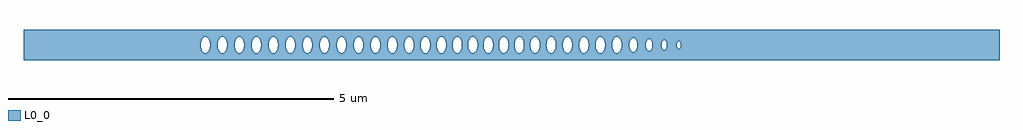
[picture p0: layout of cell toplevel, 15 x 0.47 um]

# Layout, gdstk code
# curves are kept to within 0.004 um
import gdstk
lib = gdstk.Library(unit=1e-6, precision=1e-09)
def P(c, l, *ps):  # polygons
    for p in ps: c.add(gdstk.Polygon(p, *l))
L0_0 = (0, 0)

toplevel = lib.new_cell('toplevel')
P(toplevel, L0_0, [(-4.182,-0.234),(-4.182,-0.128),(-4.208,-0.119),(-4.228,-0.098),(-4.243,-0.068),(-4.254,-0.016),(-4.251,0.039),(-4.238,0.081),(-4.217,0.112),(-4.182,0.128),(-4.182,0.234),(-7.5,0.234),(-7.5,-0.016),(-4.777,-0.016),(-4.775,0.032),(-4.764,0.075),(-4.74,0.112),(-4.705,0.128),(-4.678,0.119),(-4.655,0.093),(-4.639,0.054),(-4.633,-0.008),(-4.516,-0.008),(-4.511,0.047),(-4.493,0.093),(-4.47,0.119),(-4.443,0.128),(-4.417,0.119),(-4.397,0.098),(-4.382,0.068),(-4.371,0.008),(-4.376,-0.047),(-4.394,-0.093),(-4.417,-0.119),(-4.443,-0.128),(-4.47,-0.119),(-4.49,-0.098),(-4.505,-0.068),(-4.516,-0.008),(-4.633,-0.008),(-4.639,-0.054),(-4.655,-0.093),(-4.678,-0.119),(-4.705,-0.128),(-4.732,-0.119),(-4.751,-0.098),(-4.764,-0.075),(-4.777,-0.016),(-7.5,-0.016),(-7.5,-0.234)],
  [(-4.182,0.234),(-4.182,0.128),(-4.155,0.119),(-4.132,0.093),(-4.116,0.054),(-4.11,-0.008),(-3.993,-0.008),(-3.988,0.047),(-3.97,0.093),(-3.947,0.119),(-3.92,0.128),(-3.894,0.119),(-3.874,0.098),(-3.859,0.068),(-3.848,0.016),(-3.851,-0.039),(-3.864,-0.081),(-3.885,-0.112),(-3.92,-0.128),(-3.947,-0.119),(-3.97,-0.093),(-3.988,-0.047),(-3.993,-0.008),(-4.11,-0.008),(-4.116,-0.054),(-4.132,-0.093),(-4.155,-0.119),(-4.182,-0.128),(-4.182,-0.234),(-3.59,-0.234),(-3.59,-0.041),(-3.616,-0.103),(-3.632,-0.119),(-3.659,-0.128),(-3.685,-0.119),(-3.705,-0.098),(-3.72,-0.068),(-3.731,-0.016),(-3.729,0.032),(-3.72,0.068),(-3.698,0.108),(-3.672,0.125),(-3.645,0.125),(-3.62,0.108),(-3.6,0.075),(-3.59,0.039),(-3.59,0.234)],
  [(-2.909,0.234),(-2.909,0.112),(-2.874,0.128),(-2.847,0.119),(-2.835,0.108),(-2.815,0.075),(-2.807,0.047),(-2.802,-0.008),(-2.685,-0.008),(-2.68,0.047),(-2.662,0.093),(-2.639,0.119),(-2.612,0.128),(-2.586,0.119),(-2.566,0.098),(-2.551,0.068),(-2.54,0.008),(-2.545,-0.047),(-2.563,-0.093),(-2.586,-0.119),(-2.612,-0.128),(-2.639,-0.119),(-2.659,-0.098),(-2.674,-0.068),(-2.685,-0.008),(-2.802,-0.008),(-2.815,-0.075),(-2.839,-0.112),(-2.874,-0.128),(-2.909,-0.112),(-2.909,-0.234),(-2.282,-0.234),(-2.282,-0.04),(-2.292,-0.075),(-2.308,-0.103),(-2.324,-0.119),(-2.351,-0.128),(-2.378,-0.119),(-2.397,-0.098),(-2.41,-0.075),(-2.423,-0.016),(-2.421,0.032),(-2.41,0.075),(-2.39,0.108),(-2.365,0.125),(-2.337,0.125),(-2.312,0.108),(-2.292,0.075),(-2.282,0.039),(-2.282,0.234)],
  [(-2.282,-0.039),(-2.282,-0.234),(-1.602,-0.234),(-1.602,-0.119),(-1.634,-0.075),(-1.647,-0.016),(-1.645,0.032),(-1.634,0.075),(-1.602,0.119),(-1.602,0.234),(-2.282,0.234),(-2.279,-0.016),(-2.162,-0.016),(-2.159,0.039),(-2.146,0.081),(-2.117,0.119),(-2.09,0.128),(-2.063,0.119),(-2.04,0.093),(-2.024,0.054),(-2.018,-0.016),(-1.903,-0.016),(-1.9,0.039),(-1.887,0.081),(-1.866,0.112),(-1.831,0.128),(-1.804,0.119),(-1.781,0.093),(-1.763,0.047),(-1.758,0),(-1.763,-0.047),(-1.781,-0.093),(-1.804,-0.119),(-1.831,-0.128),(-1.857,-0.119),(-1.877,-0.098),(-1.892,-0.068),(-1.903,-0.016),(-2.018,-0.016),(-2.024,-0.054),(-2.04,-0.093),(-2.063,-0.119),(-2.09,-0.128),(-2.117,-0.119),(-2.136,-0.098),(-2.151,-0.068),(-2.162,-0.016),(-2.279,-0.016)],
  [(-1.148,0.016),(-1.135,0.075),(-1.103,0.119),(-1.076,0.128),(-1.063,0.125),(-1.041,0.112),(-1.023,0.087),(-1.023,0.234),(-1.602,0.234),(-1.602,0.119),(-1.575,0.128),(-1.561,0.125),(-1.532,0.103),(-1.509,0.054),(-1.503,-0.008),(-1.396,-0.008),(-1.391,0.047),(-1.373,0.093),(-1.35,0.119),(-1.323,0.128),(-1.297,0.119),(-1.277,0.098),(-1.262,0.068),(-1.251,0.008),(-1.254,-0.039),(-1.274,-0.093),(-1.297,-0.119),(-1.323,-0.128),(-1.35,-0.119),(-1.373,-0.093),(-1.391,-0.047),(-1.396,-0.008),(-1.503,-0.008),(-1.509,-0.054),(-1.536,-0.108),(-1.548,-0.119),(-1.575,-0.128),(-1.602,-0.119),(-1.602,-0.234),(-1.023,-0.234),(-1.023,-0.087),(-1.037,-0.108),(-1.058,-0.123),(-1.076,-0.128),(-1.103,-0.119),(-1.126,-0.093),(-1.14,-0.061)],
  [(0.048,0.016),(0.056,0.061),(0.077,0.103),(0.106,0.125),(0.129,0.126),(0.129,0.234),(-0.405,0.234),(-0.405,0.093),(-0.391,0.112),(-0.369,0.125),(-0.356,0.128),(-0.329,0.119),(-0.306,0.093),(-0.292,0.061),(-0.284,-0.008),(-0.191,-0.008),(-0.186,0.047),(-0.168,0.093),(-0.145,0.119),(-0.119,0.128),(-0.092,0.119),(-0.072,0.098),(-0.057,0.068),(-0.046,0.008),(-0.051,-0.047),(-0.069,-0.093),(-0.092,-0.119),(-0.119,-0.128),(-0.145,-0.119),(-0.165,-0.098),(-0.18,-0.068),(-0.191,-0.008),(-0.284,-0.008),(-0.297,-0.075),(-0.329,-0.119),(-0.356,-0.128),(-0.369,-0.125),(-0.391,-0.112),(-0.405,-0.093),(-0.405,-0.234),(0.129,-0.234),(0.129,-0.126),(0.093,-0.119),(0.07,-0.093),(0.052,-0.047)],
  [(1.294,0.016),(1.304,0.068),(1.331,0.112),(1.365,0.128),(1.4,0.112),(1.4,0.234),(0.792,0.234),(0.792,0.039),(0.814,0.098),(0.834,0.119),(0.861,0.128),(0.896,0.112),(0.919,0.075),(0.931,0.032),(0.932,-0.016),(1.041,-0.016),(1.043,0.032),(1.054,0.075),(1.078,0.112),(1.113,0.128),(1.14,0.119),(1.163,0.093),(1.179,0.054),(1.185,0.016),(1.185,-0.019),(1.172,-0.075),(1.148,-0.112),(1.113,-0.128),(1.086,-0.119),(1.063,-0.093),(1.041,-0.016),(0.932,-0.016),(0.922,-0.068),(0.907,-0.098),(0.887,-0.119),(0.861,-0.128),(0.834,-0.119),(0.814,-0.098),(0.792,-0.041),(0.792,-0.234),(1.4,-0.234),(1.4,-0.112),(1.365,-0.128),(1.339,-0.119),(1.327,-0.108),(1.298,-0.047)],
  [(2.07,-0.045),(2.063,0.006),(2.071,0.049),(2.071,0.234),(1.4,0.234),(1.4,0.112),(1.427,0.068),(1.438,-0.008),(1.548,-0.008),(1.553,0.047),(1.571,0.093),(1.594,0.119),(1.62,0.128),(1.647,0.119),(1.67,0.093),(1.688,0.047),(1.692,-0.014),(1.811,-0.014),(1.815,0.041),(1.825,0.071),(1.85,0.103),(1.873,0.111),(1.896,0.103),(1.916,0.081),(1.935,0.014),(1.926,-0.059),(1.91,-0.089),(1.885,-0.109),(1.861,-0.109),(1.833,-0.085),(1.815,-0.041),(1.811,-0.014),(1.692,-0.014),(1.682,-0.068),(1.667,-0.098),(1.647,-0.119),(1.62,-0.128),(1.594,-0.119),(1.574,-0.098),(1.559,-0.068),(1.548,-0.008),(1.438,-0.008),(1.427,-0.068),(1.4,-0.112),(1.4,-0.234),(2.071,-0.234)],
  [(2.075,0.06),(2.093,0.085),(2.119,0.094),(2.137,0.085),(2.155,0.06),(2.164,0.035),(2.167,-0.005),(2.305,-0.005),(2.307,0.024),(2.318,0.056),(2.339,0.076),(2.355,0.076),(2.372,0.062),(2.381,0.045),(2.389,-0.008),(2.54,-0.008),(2.55,0.044),(2.56,0.056),(2.576,0.06),(2.594,0.044),(2.604,0),(2.594,-0.044),(2.576,-0.06),(2.553,-0.049),(2.54,-0.008),(2.389,-0.008),(2.376,-0.056),(2.35,-0.077),(2.329,-0.07),(2.318,-0.056),(2.305,-0.005),(2.167,-0.005),(2.155,-0.06),(2.128,-0.091),(2.112,-0.094),(2.093,-0.085),(2.071,-0.051),(2.071,-0.234),(7.5,-0.234),(7.5,0.234),(2.071,0.234),(2.071,0.05)],
  [(-3.589,-0.032),(-3.59,-0.234),(-3.207,-0.234),(-3.207,0.234),(-3.59,0.234),(-3.586,0),(-3.47,0),(-3.463,0.054),(-3.447,0.093),(-3.424,0.119),(-3.397,0.128),(-3.371,0.119),(-3.351,0.098),(-3.336,0.068),(-3.325,0.016),(-3.328,-0.039),(-3.341,-0.081),(-3.362,-0.112),(-3.397,-0.128),(-3.424,-0.119),(-3.447,-0.093),(-3.463,-0.054),(-3.47,0),(-3.586,0)],
  [(-3.204,0.039),(-3.194,0.075),(-3.174,0.108),(-3.149,0.125),(-3.122,0.125),(-3.097,0.108),(-3.077,0.075),(-3.065,0.032),(-3.063,-0.008),(-3.074,-0.068),(-3.089,-0.098),(-3.109,-0.119),(-3.136,-0.128),(-3.162,-0.119),(-3.182,-0.098),(-3.197,-0.068),(-3.207,-0.024),(-3.207,-0.234),(-2.909,-0.234),(-2.909,-0.112),(-2.933,-0.075),(-2.946,-0.016),(-2.94,0.054),(-2.924,0.093),(-2.909,0.112),(-2.909,0.234),(-3.207,0.234)],
  [(-1.006,-0.032),(-1.023,-0.087),(-1.023,-0.234),(-0.761,-0.234),(-0.761,-0.016),(-0.772,-0.068),(-0.787,-0.098),(-0.807,-0.119),(-0.833,-0.128),(-0.86,-0.119),(-0.883,-0.093),(-0.901,-0.047),(-0.906,0),(-0.901,0.047),(-0.883,0.093),(-0.86,0.119),(-0.833,0.128),(-0.807,0.119),(-0.787,0.098),(-0.772,0.068),(-0.761,0.016),(-0.761,0.234),(-1.023,0.234),(-1.023,0.087),(-1.007,0.039)],
  [(-0.405,-0.234),(-0.405,-0.093),(-0.417,-0.068),(-0.428,-0.016),(-0.425,0.039),(-0.405,0.093),(-0.405,0.234),(-0.761,0.234),(-0.761,-0.008),(-0.666,-0.008),(-0.661,0.047),(-0.643,0.093),(-0.62,0.119),(-0.594,0.128),(-0.567,0.119),(-0.547,0.098),(-0.532,0.068),(-0.521,0.008),(-0.526,-0.047),(-0.544,-0.093),(-0.567,-0.119),(-0.594,-0.128),(-0.62,-0.119),(-0.64,-0.098),(-0.655,-0.068),(-0.666,-0.008),(-0.761,-0.008),(-0.761,-0.234)],
  [(0.189,-0.039),(0.166,-0.098),(0.146,-0.119),(0.129,-0.126),(0.129,-0.234),(0.421,-0.234),(0.421,-0.075),(0.389,-0.119),(0.362,-0.128),(0.348,-0.125),(0.327,-0.112),(0.312,-0.093),(0.296,-0.054),(0.29,-0.016),(0.296,0.054),(0.312,0.093),(0.335,0.119),(0.362,0.128),(0.389,0.119),(0.421,0.075),(0.421,0.234),(0.129,0.234),(0.129,0.126),(0.159,0.108),(0.181,0.068),(0.192,0.016)],
  [(0.432,-0.032),(0.421,-0.075),(0.421,-0.234),(0.792,-0.234),(0.792,0.234),(0.421,0.234),(0.421,0.075),(0.431,0.039),(0.434,-0.008),(0.537,-0.008),(0.542,0.047),(0.56,0.093),(0.583,0.119),(0.609,0.128),(0.636,0.119),(0.656,0.098),(0.671,0.068),(0.682,0.008),(0.677,-0.047),(0.659,-0.093),(0.636,-0.119),(0.609,-0.128),(0.583,-0.119),(0.563,-0.098),(0.548,-0.068),(0.537,-0.008),(0.434,-0.008)])

lib.write_gds('toplevel.gds')
